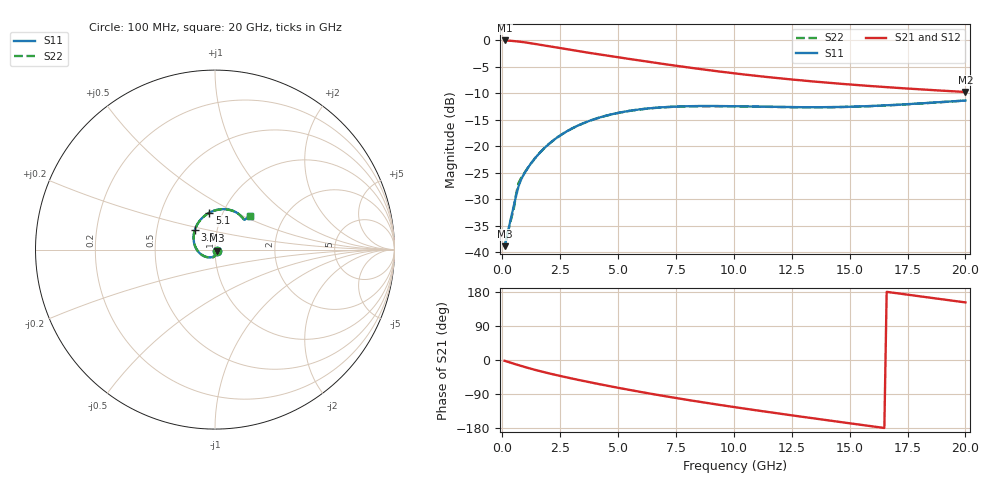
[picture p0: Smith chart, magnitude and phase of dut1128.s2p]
! Touchstone file exported from HFSS 2024.1.0
!  File:  C:/UserFiles/LocalFiles/RDL_TSV_Batchsim/temp_RDL_TSV_1128_1780109160.aedt
!  Generated:  10:57:41 AM May 30, 2026
!  Design:  RDL_TSV
!  Project:  temp_RDL_TSV_1128_1780109160
!  Setup:  Setup1
!  Solution:  Sweep
! Variables:
!  dtsv = 12.61um
!  hbump = 3um
!  htsv = 89.44um
!  ldown = 295.07um
!  lrdl = 487.58um
!  p = 40
!  p1 = 52.94um
!  rhole = 10um
!  subl = 2835.53um
!  t = 450um
!  tdown = 2.8um
!  trdl = 4.66um
!  viad = 10um
!  wdown = 26.17um
!  wrdl = 29.16um
!  xbump = 18um
# GHz S MA R 50.000000
! Terminal data exported
! Port[1] = TM1_1_T1
! Port[2] = TM1_4_T1
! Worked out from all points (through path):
!   200 points, 100 MHz to 20 GHz, reference 50 ohm
!   highest |S21| = -0.10 dB at 100 MHz (marker M1); lowest = -9.8 dB at 20 GHz (marker M2)
!   group delay of S21, straight-line fit = 27.1 ps
!   lowest |S11| = -38.8 dB at 100 MHz (marker M3), VSWR 1.02, Z = 51 - j0.581 ohm
!   |S11| at or under -10 dB: start of sweep to end of sweep
!   |S22| runs from -38.8 to -11.4 dB; largest |S21 - S12| = 3.1e-14
!   S11 on the Smith chart (normalised r, x): 100 MHz: 1.02, -0.01; 3.3 GHz: 0.78, +0.18; 5.1 GHz: 0.86, +0.37; 20 GHz: 1.36, +0.54
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0.1  0.01144 -29.8  0.989 -2.0  0.989 -2.0  0.01144 -29.8
! Gamma 0 0 0 0
! Port Impedance 50 0 50 0
0.5  0.02742 -87.0  0.9762 -9.9  0.9762 -9.9  0.02606 -83.8
0.6  0.03441 -95.2  0.9714 -11.7  0.9714 -11.7  0.03545 -89.7
0.7  0.04181 -105.5  0.9661 -13.6  0.9661 -13.6  0.04481 -104.6
0.8  0.04781 -115.6  0.9603 -15.4  0.9603 -15.4  0.04951 -116.6
1  0.05755 -131.6  0.9473 -19.0  0.9473 -19.0  0.05786 -132.2
1.2  0.06694 -144.2  0.9331 -22.5  0.9331 -22.5  0.06697 -144.4
1.8  0.09517 -174.1  0.8875 -32.1  0.8875 -32.1  0.09509 -174.1
2.5  0.1262 159.1  0.8361 -42.1  0.8361 -42.1  0.1261 159.1
3.3  0.1575 135.4  0.7834 -52.7  0.7834 -52.7  0.1573 135.4
3.5  0.1645 130.4  0.7711 -55.2  0.7711 -55.2  0.1643 130.4
4.3  0.1889 112.9  0.7247 -65.1  0.7247 -65.1  0.1886 112.9
5.1  0.2078 98.8  0.6819 -74.5  0.6819 -74.5  0.2074 98.8
6  0.2229 86.0  0.6374 -84.6  0.6374 -84.6  0.2224 86.0
6.8  0.2314 76.8  0.601 -93.1  0.601 -93.1  0.2309 76.8
8.4  0.2386 63.0  0.5373 -109.2  0.5373 -109.2  0.2379 63.0
10.1  0.2376 53.7  0.4826 -125.0  0.4826 -125.0  0.2369 53.7
11.7  0.2342 48.6  0.4417 -139.2  0.4417 -139.2  0.2335 48.6
13.4  0.2326 46.0  0.4071 -153.6  0.4071 -153.6  0.2318 46.1
15  0.2351 45.2  0.3809 -167.0  0.3809 -167.0  0.2344 45.3
16.7  0.243 45.0  0.358 179.0  0.358 179.0  0.2424 45.1
20  0.2692 43.5  0.3236 152.0  0.3236 152.0  0.2687 43.6
